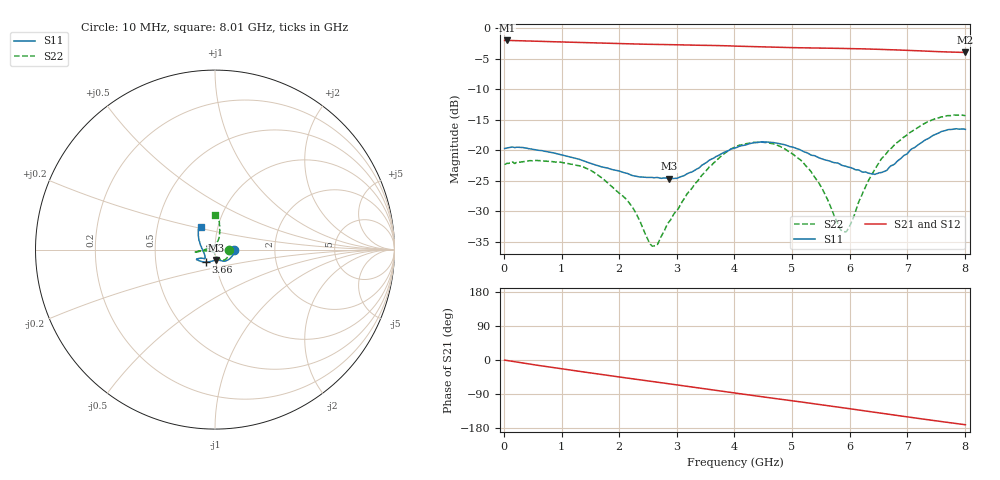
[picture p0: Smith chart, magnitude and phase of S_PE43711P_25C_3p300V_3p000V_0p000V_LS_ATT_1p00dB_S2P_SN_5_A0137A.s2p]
! Device ID: PE43711P
! File Path: z:\PE43711P\CHAR_NOM_04282014\AMB\3p300\LS_ATT_1p00dB\PE43711P_AMB_3p300V_3p000V_0p000V_LS_ATT_1p00dB_S2P_SN_5_A0137A.s2p
! Serial: 5
! Lot: A0137A
! Temp: 25C
! VDD: 3.300
! VSS: 0.000
! Control_Hi: 3.000
! Control_Lo: 0.000
! Attenuation Step: 1.00dB
! Port 1: RF1
! Port 2: RF2
! ThroughPath:1-2
! IDD: 0.0001277303
! ISS: -1.171e-007
#  Hz  S  RI  R  50
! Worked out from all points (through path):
!   801 points, 10 MHz to 8.01 GHz, reference 50 ohm
!   highest |S21| = -2.03 dB at 50 MHz (marker M1); lowest = -4.0 dB at 8.01 GHz (marker M2)
!   group delay of S21, straight-line fit = 58.7 ps
!   lowest |S11| = -24.7 dB at 2.87 GHz (marker M3), VSWR 1.12, Z = 50.5 - j5.86 ohm
!   |S11| at or under -10 dB: start of sweep to end of sweep
!   |S22| runs from -35.7 to -14.2 dB; largest |S21 - S12| = 0.0012
!   S11 on the Smith chart (normalised r, x): 10 MHz: 1.23, -0.00; 3.66 GHz: 0.89, -0.13; 8.01 GHz: 0.83, +0.21
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1e7  0.1033 -0.000528  0.7911 -0.00401  0.7914 -0.00404  0.0767 -0.000607
5e7  0.1042 -0.00252  0.7912 -0.0173  0.7911 -0.0173  0.078 -0.00212
6e8  0.0904 -0.0423  0.7549 -0.1927  0.755 -0.1927  0.0721 -0.0397
1.35e9  0.0519 -0.0643  0.6536 -0.3902  0.6538 -0.3902  0.0425 -0.0602
2.1e9  0.0259 -0.0598  0.5087 -0.5433  0.509 -0.5436  0.00754 -0.0399
2.28e9  0.0233 -0.0568  0.4693 -0.5726  0.4696 -0.5728  0.00343 -0.031
2.54e9  0.0204 -0.0565  0.4107 -0.6104  0.411 -0.6105  -0.0057 -0.016
2.68e9  0.0168 -0.0572  0.3784 -0.6285  0.3787 -0.6289  -0.0132 -0.0116
2.87e9  0.00808 -0.0579  0.3328 -0.6515  0.3329 -0.6515  -0.024 -0.0103
3.66e9  -0.0526 -0.0698  0.1287 -0.7083  0.1289 -0.7084  -0.0798 -0.00863
4.01e9  -0.0821 -0.0642  0.0352 -0.7111  0.0349 -0.7117  -0.1054 -0.013
4.7e9  -0.102 -0.0534  -0.1382 -0.6832  -0.1382 -0.6832  -0.1111 -0.0131
5.13e9  -0.0886 -0.0494  -0.2386 -0.6468  -0.2388 -0.6474  -0.0843 -0.0062
5.35e9  -0.0778 -0.0468  -0.2878 -0.6236  -0.288 -0.6243  -0.0645 -0.00278
5.56e9  -0.0682 -0.0482  -0.3336 -0.5979  -0.3338 -0.5981  -0.0448 0.00257
5.83e9  -0.058 -0.0507  -0.39 -0.5588  -0.3899 -0.5587  -0.0185 0.0135
5.92e9  -0.056 -0.0486  -0.408 -0.5447  -0.4083 -0.5443  -0.0108 0.0185
6.02e9  -0.055 -0.0465  -0.4269 -0.528  -0.4277 -0.528  -0.00196 0.0251
6.34e9  -0.0578 -0.0288  -0.4832 -0.4686  -0.4834 -0.4691  0.0186 0.0547
6.68e9  -0.0715 0.00475  -0.533 -0.3988  -0.5329 -0.3991  0.0259 0.0965
7.37e9  -0.0925 0.0842  -0.5982 -0.2436  -0.5983 -0.2437  0.0203 0.1709
8.01e9  -0.0773 0.1262  -0.6228 -0.1007  -0.6233 -0.0996  0.00129 0.1919
